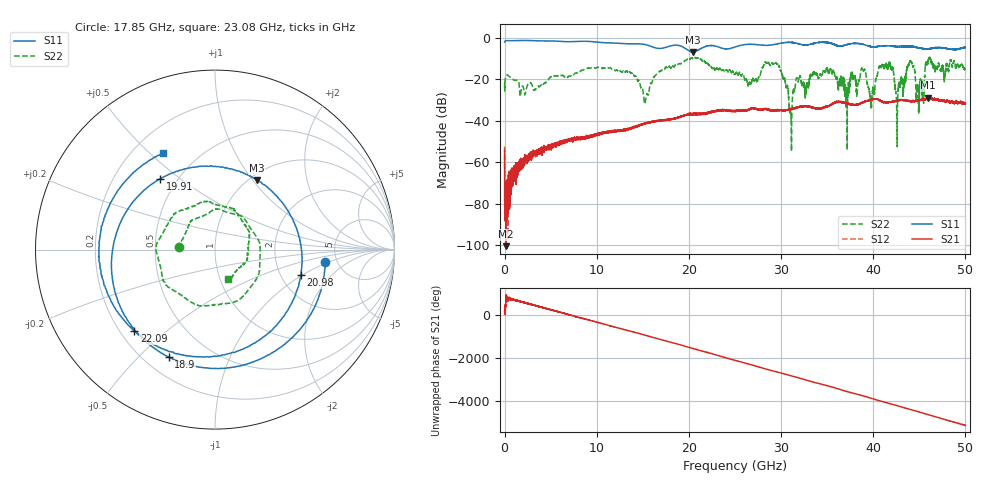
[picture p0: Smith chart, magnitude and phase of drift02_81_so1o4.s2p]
!Created with skrf (http://scikit-rf.org).
# Hz S RI R 50.0
!freq ReS11 ImS11 ReS21 ImS21 ReS12 ImS12 ReS22 ImS22
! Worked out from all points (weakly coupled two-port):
!   10001 points, 300 kHz to 50 GHz, reference 50 ohm
!   highest |S21| = -28.96 dB at 45.96 GHz (marker M1); lowest = -100.5 dB at 125.3 MHz (marker M2)
!   lowest |S11| = -6.9 dB at 20.41 GHz (marker M3), VSWR 2.64, Z = 54 + j52.3 ohm
!   |S11| at or under -10 dB: nowhere
!   |S22| runs from -54.7 to -9.4 dB; largest |S21 - S12| = 0.0034
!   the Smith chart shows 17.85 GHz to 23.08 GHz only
!   S11 on the Smith chart (normalised r, x): 17.85 GHz: 4.00, -0.91; 18.9 GHz: 0.30, -0.62; 19.91 GHz: 0.40, +0.43; 20.98 GHz: 2.56, -0.98; 22.09 GHz: 0.26, -0.39; 23.08 GHz: 0.32, +0.55
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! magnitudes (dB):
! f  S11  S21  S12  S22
! 300 kHz  -2.1  -54.2  -52.5  -21.7
! 125.3 MHz  -1.5  -100.5  -77.3  -18.4
! 8.335 GHz  -1.7  -48.6  -48.3  -15.7
! 15.33 GHz  -3.4  -41.1  -41.2  -29.3
! 16.67 GHz  -5.2  -40.0  -40.1  -17.0
! 17.85 GHz  -4.2  -39.6  -39.5  -13.9
! 18.9 GHz  -3.7  -38.4  -38.4  -12.5
! 19.91 GHz  -6.0  -37.0  -37.1  -10.1
! 20.41 GHz  -6.9  -37.3  -37.0  -10.0
! 20.98 GHz  -6.0  -36.8  -36.4  -9.7
! 22.09 GHz  -3.9  -36.3  -36.1  -12.7
! 23.08 GHz  -4.3  -35.1  -35.3  -14.9
! 25 GHz  -4.5  -35.1  -35.3  -17.6
! 29.51 GHz  -3.1  -35.1  -35.1  -12.6
! 31.03 GHz  -2.2  -34.6  -34.7  -36.3
! 33.34 GHz  -3.0  -33.5  -33.6  -18.1
! 38.92 GHz  -3.2  -30.9  -31.0  -16.2
! 39.88 GHz  -4.4  -29.7  -29.8  -28.7
! 41.67 GHz  -3.9  -31.2  -31.2  -12.7
! 42.6 GHz  -4.3  -30.3  -30.3  -45.8
! 45.96 GHz  -5.4  -29.0  -29.3  -11.4
! 50 GHz  -4.8  -31.8  -31.4  -15.7
